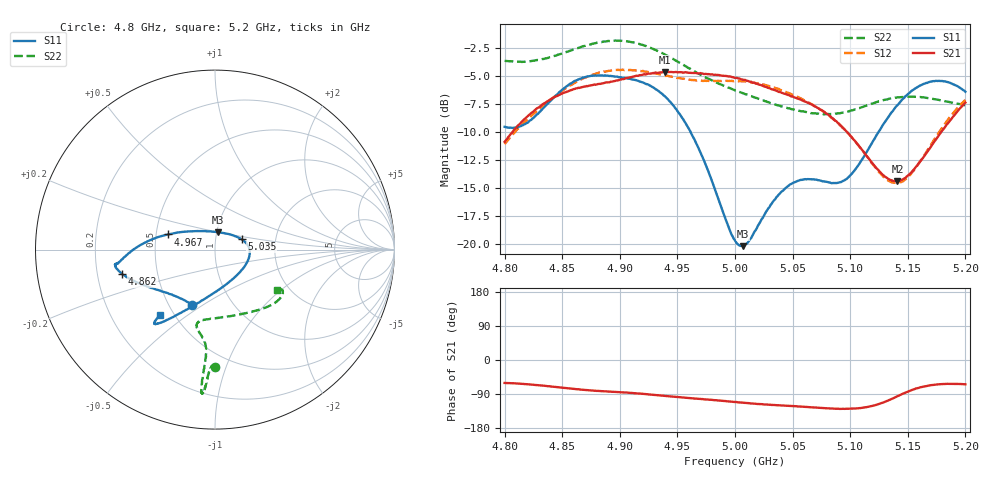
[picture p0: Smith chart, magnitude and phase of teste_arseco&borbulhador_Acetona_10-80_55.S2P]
! Network Analyzer HP8722D
! Hewlett-Packard
! Data name: Linha & Wilkinson
! Saver's name: Rodrigo Anjos
! Comments: Teste da utilização de aquisição
! continua pelo VNA HP8722D
! Time and date: 17/4/2025 14:49
!  Frequency  S11  S21  S12  S22
# HZ  S  MA R 50
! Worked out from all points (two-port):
!   401 points, 4.8 GHz to 5.2 GHz, reference 50 ohm
!   highest |S21| = -4.67 dB at 4.939 GHz (marker M1); lowest = -14.4 dB at 5.141 GHz (marker M2)
!   |S21| within 3 dB of the highest: 4.832 GHz to 5.068 GHz (236.7 MHz wide, 4.78 % of centre); 5.197553 GHz to end of sweep
!   lowest |S11| = -20.2 dB at 5.007 GHz (marker M3), VSWR 1.22, Z = 50.9 + j9.91 ohm
!   |S11| at or under -10 dB: 4.961 GHz to 5.125 GHz (163.3 MHz wide, 3.24 % of centre)
!   |S22| runs from -8.4 to -1.9 dB; largest |S21 - S12| = 0.88
!   S11 on the Smith chart (normalised r, x): 4.8 GHz: 0.65, -0.45; 4.862 GHz: 0.31, -0.12; 4.967 GHz: 0.58, +0.11; 5.035 GHz: 1.34, +0.16; 5.2 GHz: 0.42, -0.40
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4.8e9  0.3329 -113.0  0.2854 -60.6  0.2788 -174.8  0.6551 -89.9
4.819e9  0.3457 -132.8  0.3672 -63.7  0.3555 -173.3  0.6497 -91.5
4.862e9  0.5352 -165.3  0.4935 -76.8  0.5262 -176.5  0.742 -93.8
4.867e9  0.5482 -167.3  0.4998 -78.3  0.5424 -177.3  0.7568 -93.9
4.901e9  0.5526 -171.9  0.5404 -85.1  0.5956 175.5  0.8035 -95.3
4.934e9  0.4788 -177.8  0.5794 -93.3  0.5709 171.9  0.7179 -95.5
4.939e9  0.4555 -180.0  0.5839 -94.7  0.5659 172.0  0.6984 -95.5
4.954e9  0.3656 171.8  0.5818 -98.9  0.5452 172.7  0.6323 -95.1
4.967e9  0.2769 162.2  0.5762 -102.0  0.5342 174.1  0.5783 -94.9
5e9  0.1043 103.6  0.5487 -110.9  0.5324 176.4  0.4836 -99.1
5.007e9  0.09811 79.2  0.5389 -112.5  0.5299 176.4  0.4692 -100.6
5.035e9  0.159 21.2  0.484 -119.1  0.4949 175.0  0.4184 -103.3
5.05e9  0.1869 5.9  0.4542 -121.8  0.4617 174.4  0.3985 -99.7
5.067e9  0.1946 -12.4  0.4174 -124.9  0.4189 173.9  0.3826 -90.9
5.086e9  0.1872 -42.4  0.3583 -128.5  0.3576 173.7  0.3802 -76.8
5.097e9  0.1952 -65.0  0.3167 -128.9  0.3157 174.5  0.3887 -67.6
5.134e9  0.3736 -115.9  0.1943 -105.5  0.1908 -158.4  0.4441 -42.9
5.141e9  0.4153 -119.8  0.1904 -95.6  0.1874 -147.4  0.4501 -39.9
5.153e9  0.4793 -124.7  0.2086 -79.9  0.2063 -129.1  0.4534 -35.7
5.17e9  0.5288 -128.4  0.2711 -66.5  0.2765 -112.6  0.4453 -31.8
5.184e9  0.5269 -129.7  0.3421 -62.9  0.3533 -107.2  0.4316 -30.9
5.2e9  0.4768 -130.2  0.4264 -64.1  0.4386 -106.2  0.4149 -33.2
